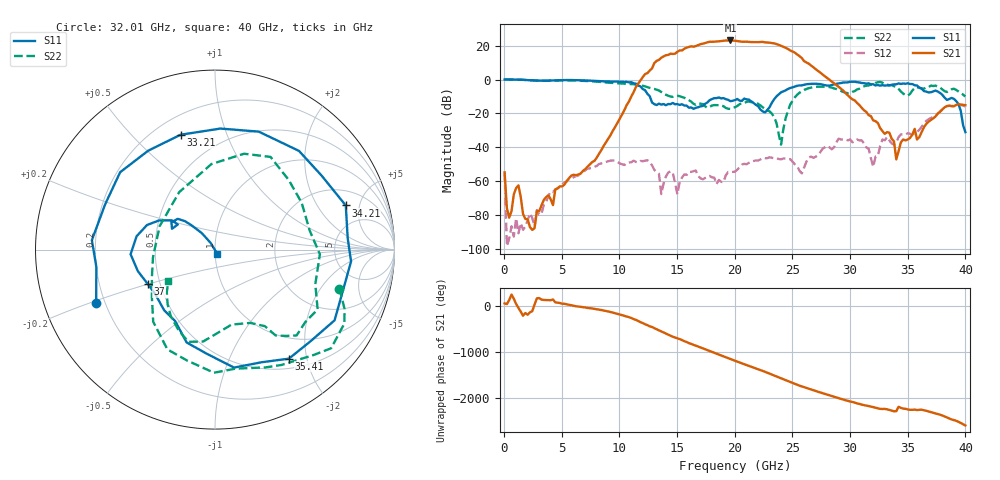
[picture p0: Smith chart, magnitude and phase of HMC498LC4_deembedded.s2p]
!Hittite Microwave Corporation
!20 Alpha Road
!Chelmsford, MA 01824
!Tel: 978-250-3343
!Fax: 978-250-3373
!Device: HMC498LC4, 17-24 GHz, GaAS PHEMT MMIC MEdium Power Amplifier in a Leadless SMT Package
!Misc: Vdd1,2,3 = 5 V, Idd = 250 mA, data includes two Southwest (K) connectors, Room
# MHZ S MA R 50
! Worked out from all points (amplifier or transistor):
!   201 points, 50 MHz to 40 GHz, reference 50 ohm
!   highest |S21| = 23.1 dB at 19.63 GHz (marker M1)
!   |S21| within 3 dB of that: 16.74 GHz to 23.95 GHz (7.218 GHz wide, 35.5 % of centre)
!   unconditionally stable (mu >= 1): 1.048 GHz to end of sweep
!   at 6.642 GHz: K = 2549.57, MAG = -37.1 dB, |S12| = -55.4 dB
!   at 20.02 GHz: K = 17.27, MAG = 23.3 dB, |S12| = -54.4 dB
!   at 40 GHz: K = 15.98, MAG = -14.7 dB, |S12| = -15.9 dB
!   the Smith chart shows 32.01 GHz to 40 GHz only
!   S11 on the Smith chart (normalised r, x): 32.01 GHz: 0.17, -0.21; 33.21 GHz: 0.30, +0.70; 34.21 GHz: 3.05, +3.67; 35.41 GHz: 0.65, -1.70; 37 GHz: 0.43, -0.20; 40 GHz: 1.03, -0.05
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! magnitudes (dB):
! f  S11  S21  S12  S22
! 50 MHz  0.0  -54.8  -54.9  0.0
! 249.8 MHz  0.0  -76.1  -98.4  0.0
! 1.248 GHz  -0.1  -62.5  -90.8  -0.1
! 2.647 GHz  -0.6  -87.8  -86.6  -0.6
! 6.841 GHz  -0.5  -53.9  -54.3  -0.7
! 13.43 GHz  -14.2  11.6  -55.6  -6.5
! 15.03 GHz  -14.5  16.4  -67.8  -9.6
! 19.63 GHz  -12.8  23.1  -54.7  -17.3
! 20.02 GHz  -12.1  22.9  -54.4  -16.4
! 23.02 GHz  -16.4  21.8  -45.9  -18.8
! 24.02 GHz  -7.6  19.9  -47.1  -38.4
! 24.82 GHz  -5.0  17.1  -47.0  -14.7
! 26.82 GHz  -2.5  7.3  -46.2  -4.4
! 30.61 GHz  -1.6  -13.9  -35.4  -5.8
! 32.01 GHz  -2.8  -24.2  -51.5  -2.8
! 33.21 GHz  -3.5  -31.1  -34.0  -2.9
! 33.41 GHz  -3.4  -31.4  -35.9  -3.4
! 34.21 GHz  -2.3  -42.3  -34.0  -5.5
! 35.41 GHz  -2.7  -32.4  -32.4  -6.4
! 37 GHz  -7.5  -23.9  -22.7  -3.6
! 39.2 GHz  -12.7  -15.0  -14.8  -6.1
! 40 GHz  -31.1  -15.1  -15.9  -10.0
